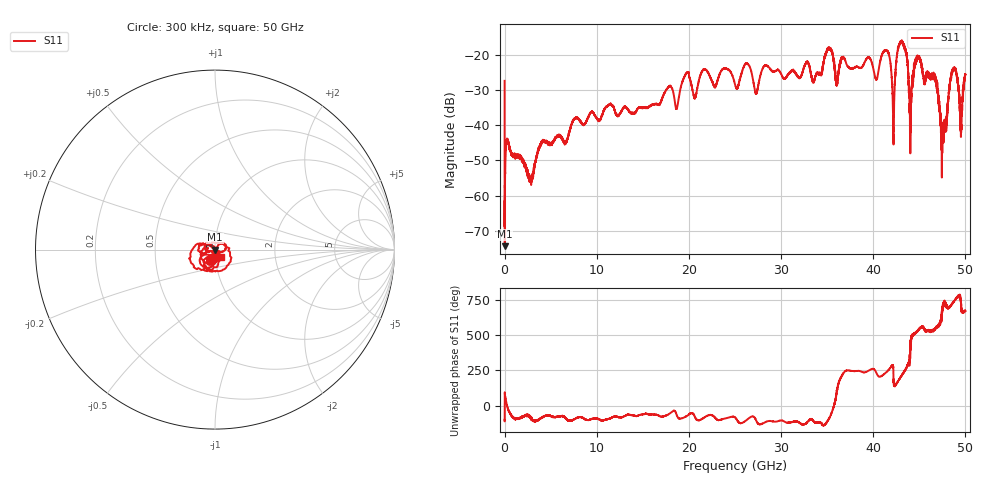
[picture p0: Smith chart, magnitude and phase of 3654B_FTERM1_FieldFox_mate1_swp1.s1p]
!Created with skrf (http://scikit-rf.org).
# Hz S RI R 50.0
!freq ReS11 ImS11
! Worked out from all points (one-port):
!   10001 points, 300 kHz to 50 GHz, reference 50 ohm
!   lowest |S11| = -74.3 dB at 20.3 MHz (marker M1), VSWR 1.00, Z = 50 + j0.0191 ohm
!   |S11| at or under -10 dB: start of sweep to end of sweep
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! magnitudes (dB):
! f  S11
! 300 kHz  -27.5
! 20.3 MHz  -74.3
! 255.3 MHz  -43.9
! 2.785 GHz  -55.7
! 4.05 GHz  -44.7
! 6.25 GHz  -43.5
! 12.5 GHz  -36.8
! 18.75 GHz  -34.6
! 19.75 GHz  -25.3
! 20.62 GHz  -32.2
! 25 GHz  -28.5
! 31.25 GHz  -24.6
! 33.56 GHz  -27.9
! 35.21 GHz  -18.0
! 36.03 GHz  -27.6
! 37.5 GHz  -24.0
! 40.34 GHz  -27.1
! 41.43 GHz  -18.8
! 42.19 GHz  -43.0
! 43.07 GHz  -16.1
! 43.75 GHz  -22.8
! 44.06 GHz  -42.0
! 44.82 GHz  -21.0
! 46.6 GHz  -26.0
! 47.59 GHz  -41.8
! 48.62 GHz  -24.6
! 49.51 GHz  -40.9
! 50 GHz  -25.7
